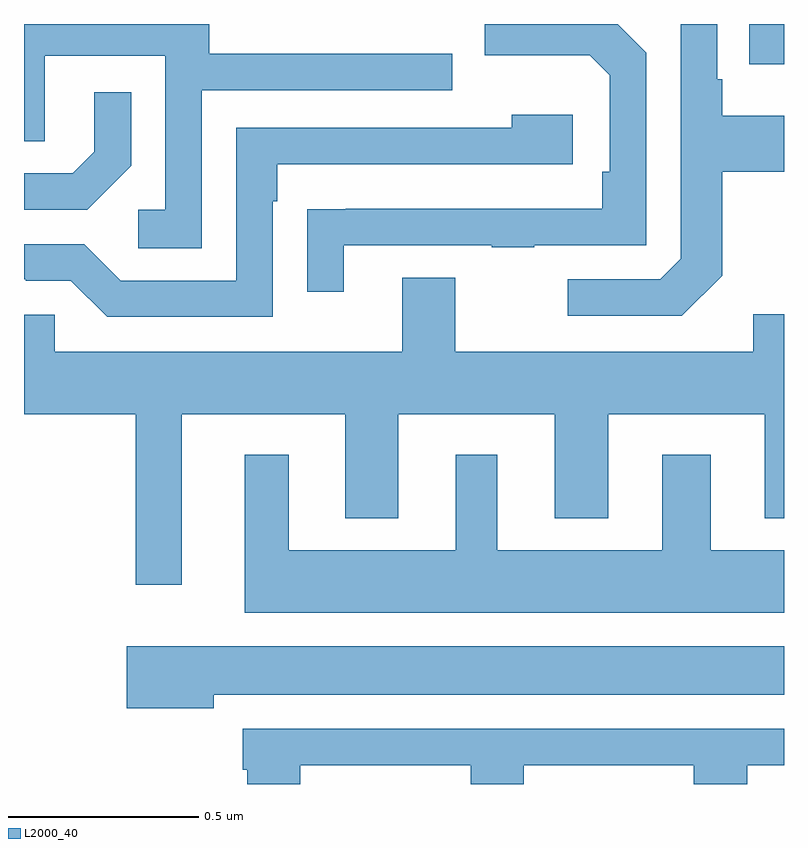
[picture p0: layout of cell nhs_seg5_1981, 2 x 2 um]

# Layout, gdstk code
import gdstk
lib = gdstk.Library(unit=1e-6, precision=1e-09)
def R(c, l, rs):  # rectangles x0, y0, x1, y1
    for r in rs: c.add(gdstk.rectangle(r[:2], r[2:], *l))
def P(c, l, *ps):  # polygons
    for p in ps: c.add(gdstk.Polygon(p, *l))
L2000_40 = (2000, 40)

nhs_seg5_1981 = lib.new_cell('nhs_seg5_1981')
R(nhs_seg5_1981, L2000_40, [(139.909,845.693,140,845.799)])
P(nhs_seg5_1981, L2000_40, [(138.841,845.217),(139.231,845.217),(139.231,845.212),(139.343,845.212),(139.343,845.217),(139.638,845.217),(139.638,845.724),(139.563,845.799),(139.212,845.799),(139.212,845.717),(139.489,845.717),(139.542,845.664),(139.542,845.41),(139.522,845.41),(139.522,845.313),(138.847,845.313),(138.847,845.312),(138.745,845.312),(138.745,845.094),(138.841,845.094)],
  [(138.468,845.625),(139.127,845.625),(139.127,845.721),(138.487,845.721),(138.487,845.799),(138,845.799),(138,845.491),(138.054,845.491),(138.054,845.715),(138.372,845.715),(138.372,845.31),(138.3,845.31),(138.3,845.209),(138.468,845.209)],
  [(139.837,845.137),(139.837,845.41),(140,845.41),(140,845.557),(139.837,845.557),(139.837,845.653),(139.824,845.653),(139.824,845.799),(139.728,845.799),(139.728,845.181),(139.674,845.127),(139.431,845.127),(139.431,845.031),(139.731,845.031)],
  [(138.282,845.426),(138.282,845.62),(138.185,845.62),(138.185,845.463),(138.128,845.406),(138,845.406),(138,845.31),(138.166,845.31)],
  [(138.654,845.333),(138.667,845.333),(138.667,845.43),(139.444,845.43),(139.444,845.56),(139.283,845.56),(139.283,845.526),(138.558,845.526),(138.558,845.124),(138.255,845.124),(138.159,845.22),(138,845.22),(138,845.127),(138.005,845.127),(138.005,845.124),(138.123,845.124),(138.219,845.028),(138.654,845.028)],
  [(138.081,845.034),(138,845.034),(138,844.772),(138.294,844.772),(138.294,844.323),(138.415,844.323),(138.415,844.772),(138.845,844.772),(138.845,844.499),(138.985,844.499),(138.985,844.772),(139.397,844.772),(139.397,844.499),(139.537,844.499),(139.537,844.772),(139.949,844.772),(139.949,844.499),(140,844.499),(140,845.035),(139.919,845.035),(139.919,844.936),(139.135,844.936),(139.135,845.131),(138.995,845.131),(138.995,844.936),(138.081,844.936)],
  [(140,844.414),(139.807,844.414),(139.807,844.666),(139.679,844.666),(139.679,844.414),(139.246,844.414),(139.246,844.666),(139.136,844.666),(139.136,844.414),(138.697,844.414),(138.697,844.666),(138.581,844.666),(138.581,844.25),(140,844.25)],
  [(138.499,844.034),(140,844.034),(140,844.162),(138.27,844.162),(138.27,843.998),(138.499,843.998)],
  [(138.727,843.849),(139.175,843.849),(139.175,843.799),(139.315,843.799),(139.315,843.849),(139.763,843.849),(139.763,843.799),(139.903,843.799),(139.903,843.849),(140,843.849),(140,843.945),(138.575,843.945),(138.575,843.837),(138.587,843.837),(138.587,843.799),(138.727,843.799)])

lib.write_gds('nhs_seg5_1981.gds')
